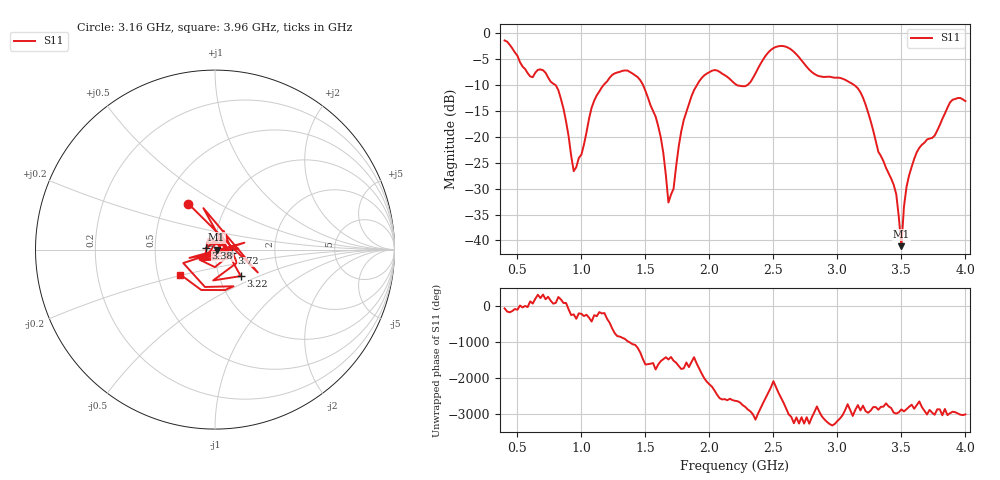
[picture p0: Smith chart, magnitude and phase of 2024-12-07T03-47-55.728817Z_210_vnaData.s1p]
!Created with skrf (http://scikit-rf.org).
# Hz S RI R 50.0
!freq ReS11 ImS11
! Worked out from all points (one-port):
!   181 points, 400 MHz to 4 GHz, reference 50 ohm
!   lowest |S11| = -41.1 dB at 3.5 GHz (marker M1), VSWR 1.02, Z = 50.9 + j0.0389 ohm
!   |S11| at or under -10 dB: 799.1 MHz to 1.173 GHz (373.6 MHz wide, 37.9 % of centre); 1.482 GHz to 1.902 GHz (420.1 MHz wide, 24.8 % of centre); 3.132 GHz to end of sweep (the widest 3 of 4)
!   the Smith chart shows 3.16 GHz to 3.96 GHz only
!   S11 on the Smith chart (normalised r, x): 3.16 GHz: 0.66, +0.37; 3.22 GHz: 1.27, -0.39; 3.38 GHz: 0.91, +0.02; 3.72 GHz: 1.21, -0.05; 3.96 GHz: 0.65, -0.19
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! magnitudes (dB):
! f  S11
! 400 MHz  -1.4
! 600 MHz  -8.3
! 720 MHz  -7.6
! 860 MHz  -14.5
! 940 MHz  -26.6
! 1.1 GHz  -13.0
! 1.3 GHz  -7.4
! 1.46 GHz  -9.0
! 1.58 GHz  -16.1
! 1.64 GHz  -23.1
! 1.68 GHz  -32.7
! 1.72 GHz  -30.0
! 1.76 GHz  -21.9
! 1.94 GHz  -8.6
! 2.2 GHz  -9.7
! 2.5 GHz  -2.8
! 2.66 GHz  -3.6
! 3.1 GHz  -9.5
! 3.16 GHz  -10.6
! 3.22 GHz  -13.7
! 3.38 GHz  -26.0
! 3.46 GHz  -31.1
! 3.5 GHz  -41.1
! 3.52 GHz  -33.5
! 3.56 GHz  -27.4
! 3.72 GHz  -20.3
! 3.96 GHz  -12.5
! 4 GHz  -13.1
